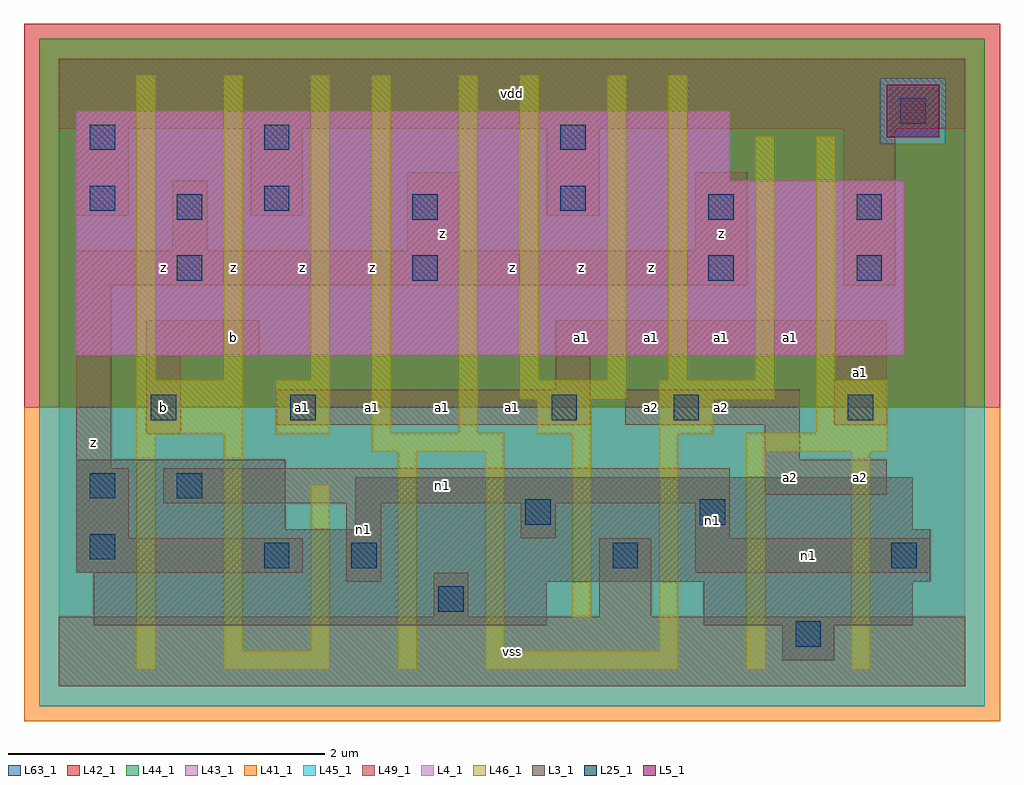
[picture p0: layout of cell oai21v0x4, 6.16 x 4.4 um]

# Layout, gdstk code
import gdstk
lib = gdstk.Library(unit=1e-6, precision=1e-09)
def R(c, l, rs):  # rectangles x0, y0, x1, y1
    for r in rs: c.add(gdstk.rectangle(r[:2], r[2:], *l))
def A(c, l, x, y, w, h, nx, ny, dx, dy):  # array of equal rectangles
    R(c, l, [(x+i*dx, y+j*dy, x+i*dx+w, y+j*dy+h) for i in range(nx) for j in range(ny)])
L3_1 = (3, 1)
L4_1 = (4, 1)
L5_1 = (5, 1)
L25_1 = (25, 1)
L41_1 = (41, 1)
L42_1 = (42, 1)
L43_1 = (43, 1)
L44_1 = (44, 1)
L45_1 = (45, 1)
L46_1 = (46, 1)
L49_1 = (49, 1)
L63_1 = (63, 1)

oai21v0x4 = lib.new_cell('oai21v0x4')
R(oai21v0x4, L3_1, [(4.565,0.165,4.895,0.385), (0.22,0.385,3.08,0.66), (4.07,0.385,5.39,0.66), (0.22,0.66,5.5,0.715), (0.11,0.715,5.5,0.99), (0.11,0.99,1.43,1.43), (1.87,0.99,5.39,1.32)])
R(oai21v0x4, L4_1, [(0.11,2.09,5.335,3.19), (0.11,3.19,4.235,3.63)])
R(oai21v0x4, L5_1, [(5.225,3.465,5.555,3.795)])
R(oai21v0x4, L25_1, [(4.65,0.25,4.81,0.41), (2.395,0.47,2.555,0.63), (1.295,0.745,1.455,0.905), (1.845,0.745,2.005,0.905), (3.495,0.745,3.655,0.905), (5.255,0.745,5.415,0.905), (0.195,0.8,0.355,0.96), (2.945,1.02,3.105,1.18), (4.045,1.02,4.205,1.18), (0.195,1.185,0.355,1.345), (0.745,1.185,0.905,1.345), (0.58,1.68,0.74,1.84), (1.46,1.68,1.62,1.84), (3.11,1.68,3.27,1.84), (3.88,1.68,4.04,1.84), (4.98,1.68,5.14,1.84), (0.745,2.56,0.905,2.72), (2.23,2.56,2.39,2.72), (4.1,2.56,4.26,2.72), (5.035,2.56,5.195,2.72), (0.745,2.945,0.905,3.105), (2.23,2.945,2.39,3.105), (4.1,2.945,4.26,3.105), (5.035,2.945,5.195,3.105), (0.195,3,0.355,3.16), (1.295,3,1.455,3.16), (3.165,3,3.325,3.16), (0.195,3.385,0.355,3.545), (1.295,3.385,1.455,3.545), (3.165,3.385,3.325,3.545), (5.31,3.55,5.47,3.71)])
R(oai21v0x4, L41_1, [(-0.22,-0.22,5.94,1.76)])
R(oai21v0x4, L42_1, [(-0.22,1.76,5.94,4.18)])
R(oai21v0x4, L43_1, [(4.565,0.165,4.895,0.385), (0.22,0.385,3.08,0.66), (4.07,0.385,5.39,0.66), (0.22,0.66,5.5,0.715), (0.11,0.715,5.5,0.99), (0.11,0.99,1.43,1.43), (1.87,0.99,5.39,1.32), (0.11,2.09,5.335,3.19), (0.11,3.19,4.235,3.63), (5.225,3.465,5.555,3.795)])
R(oai21v0x4, L44_1, [(-0.125,1.76,5.845,3.425), (-0.125,3.425,5.185,3.835), (5.595,3.425,5.845,3.835), (-0.125,3.835,5.845,4.085)])
R(oai21v0x4, L45_1, [(-0.125,-0.125,5.845,1.76), (5.185,3.425,5.595,3.835)])
A(oai21v0x4, L46_1, 0.49, 1.93, 0.12, 1.925, 3, 1, 0.55, 0)
R(oai21v0x4, L46_1, [(0.49,0.105,0.61,1.59), (1.04,0.105,1.71,0.225), (2.14,0.105,2.26,1.48), (2.69,0.105,3.91,0.225), (4.34,0.105,4.46,1.48), (5,0.105,5.12,1.48), (1.04,0.225,1.16,1.59), (1.59,0.225,1.71,1.27), (2.69,0.225,2.81,1.48), (3.79,0.225,3.91,1.59), (3.24,0.435,3.36,1.59), (1.975,1.48,2.81,1.6), (4.34,1.48,5.23,1.6), (0.49,1.59,1.16,1.93), (1.37,1.59,1.71,1.93), (3.02,1.59,3.36,1.81), (3.79,1.59,4.13,1.81), (1.975,1.6,2.095,3.855), (2.525,1.6,2.645,3.855), (4.78,1.6,5.23,1.93), (2.91,1.81,3.58,1.93), (3.79,1.81,4.515,1.93), (2.91,1.93,3.03,3.855), (3.46,1.93,3.58,3.855), (3.845,1.93,3.965,3.855), (4.395,1.93,4.515,3.47), (4.78,1.93,4.9,3.47)])
R(oai21v0x4, L49_1, [(0,0,5.72,0.44), (2.365,0.44,2.585,0.715), (3.41,0.44,3.74,0.935), (1.815,0.66,2.035,1.155), (0.11,0.715,1.54,0.935), (4.015,0.715,5.5,0.935), (0.11,0.935,0.44,1.375), (2.915,0.935,3.135,1.155), (4.015,0.935,4.235,1.155), (0.66,1.155,4.235,1.375), (4.455,1.21,5.225,1.43), (0.11,1.375,0.33,2.53), (4.455,1.43,4.675,1.65), (0.55,1.595,0.77,2.09), (1.375,1.65,3.355,1.87), (3.575,1.65,4.675,1.87), (4.895,1.65,5.225,2.09), (3.135,1.87,3.355,2.09), (0.55,2.09,1.265,2.31), (3.135,2.09,5.225,2.31), (0.11,2.53,4.345,2.75), (4.95,2.53,5.28,3.52), (0.715,2.75,0.935,3.19), (2.2,2.75,2.53,3.245), (4.015,2.75,4.345,3.245), (0.11,2.97,0.44,3.52), (1.21,2.97,1.54,3.52), (3.08,2.97,3.41,3.52), (0,3.52,5.72,3.96)])
R(oai21v0x4, L63_1, [(0,0,5.72,3.96)])
oai21v0x4.add(gdstk.Label('b', (0.66,1.76), layer=49, texttype=1))
oai21v0x4.add(gdstk.Label('z', (0.22,1.54), layer=49, texttype=1))
oai21v0x4.add(gdstk.Label('z', (0.66,2.64), layer=49, texttype=1))
oai21v0x4.add(gdstk.Label('n1', (1.925,0.99), layer=49, texttype=1))
oai21v0x4.add(gdstk.Label('a1', (1.54,1.76), layer=49, texttype=1))
oai21v0x4.add(gdstk.Label('a1', (1.98,1.76), layer=49, texttype=1))
oai21v0x4.add(gdstk.Label('b', (1.1,2.2), layer=49, texttype=1))
oai21v0x4.add(gdstk.Label('z', (1.1,2.64), layer=49, texttype=1))
oai21v0x4.add(gdstk.Label('z', (1.54,2.64), layer=49, texttype=1))
oai21v0x4.add(gdstk.Label('z', (1.98,2.64), layer=49, texttype=1))
oai21v0x4.add(gdstk.Label('vss', (2.86,0.22), layer=49, texttype=1))
oai21v0x4.add(gdstk.Label('a1', (2.86,1.76), layer=49, texttype=1))
oai21v0x4.add(gdstk.Label('a1', (2.42,1.76), layer=49, texttype=1))
oai21v0x4.add(gdstk.Label('a1', (3.3,2.2), layer=49, texttype=1))
oai21v0x4.add(gdstk.Label('z', (2.42,2.86), layer=49, texttype=1))
oai21v0x4.add(gdstk.Label('z', (2.86,2.64), layer=49, texttype=1))
oai21v0x4.add(gdstk.Label('z', (3.3,2.64), layer=49, texttype=1))
oai21v0x4.add(gdstk.Label('vdd', (2.86,3.74), layer=49, texttype=1))
oai21v0x4.add(gdstk.Label('n1', (4.125,1.045), layer=49, texttype=1))
oai21v0x4.add(gdstk.Label('n1', (2.42,1.265), layer=49, texttype=1))
oai21v0x4.add(gdstk.Label('a2', (3.74,1.76), layer=49, texttype=1))
oai21v0x4.add(gdstk.Label('a2', (4.18,1.76), layer=49, texttype=1))
oai21v0x4.add(gdstk.Label('a1', (3.74,2.2), layer=49, texttype=1))
oai21v0x4.add(gdstk.Label('a1', (4.18,2.2), layer=49, texttype=1))
oai21v0x4.add(gdstk.Label('z', (4.18,2.86), layer=49, texttype=1))
oai21v0x4.add(gdstk.Label('z', (3.74,2.64), layer=49, texttype=1))
oai21v0x4.add(gdstk.Label('n1', (4.73,0.825), layer=49, texttype=1))
oai21v0x4.add(gdstk.Label('a2', (4.62,1.32), layer=49, texttype=1))
oai21v0x4.add(gdstk.Label('a2', (5.06,1.32), layer=49, texttype=1))
oai21v0x4.add(gdstk.Label('a1', (4.62,2.2), layer=49, texttype=1))
oai21v0x4.add(gdstk.Label('a1', (5.06,1.98), layer=49, texttype=1))

lib.write_gds('oai21v0x4.gds')
